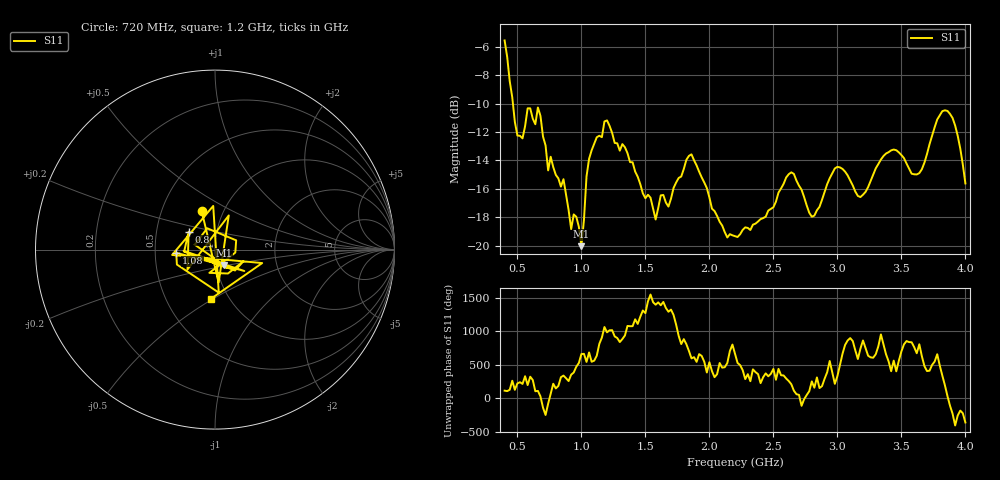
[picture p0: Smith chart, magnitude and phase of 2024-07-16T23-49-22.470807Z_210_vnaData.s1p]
!Created with skrf (http://scikit-rf.org).
# Hz S RI R 50.0
!freq ReS11 ImS11
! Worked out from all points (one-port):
!   181 points, 400 MHz to 4 GHz, reference 50 ohm
!   lowest |S11| = -20.0 dB at 1 GHz (marker M1), VSWR 1.22, Z = 54.4 - j9.48 ohm
!   |S11| at or under -10 dB: 464.9 MHz to end of sweep
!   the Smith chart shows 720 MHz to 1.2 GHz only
!   S11 on the Smith chart (normalised r, x): 720 MHz: 0.79, +0.36; 800 MHz: 0.73, +0.15; 1.08 GHz: 0.64, -0.02; 1.2 GHz: 0.82, -0.49
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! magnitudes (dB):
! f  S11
! 400 MHz  -5.6
! 500 MHz  -12.3
! 660 MHz  -10.3
! 720 MHz  -12.9
! 740 MHz  -14.7
! 800 MHz  -15.0
! 860 MHz  -15.3
! 920 MHz  -18.8
! 960 MHz  -18.0
! 1 GHz  -20.0
! 1.04 GHz  -15.1
! 1.08 GHz  -13.3
! 1.2 GHz  -11.2
! 1.3 GHz  -13.3
! 1.58 GHz  -18.2
! 1.76 GHz  -15.2
! 1.86 GHz  -13.6
! 2.2 GHz  -19.3
! 2.66 GHz  -15.0
! 2.8 GHz  -18.0
! 2.98 GHz  -14.6
! 3.1 GHz  -15.4
! 3.18 GHz  -16.6
! 3.44 GHz  -13.2
! 3.56 GHz  -14.6
! 3.64 GHz  -14.9
! 3.86 GHz  -10.5
! 4 GHz  -15.6
